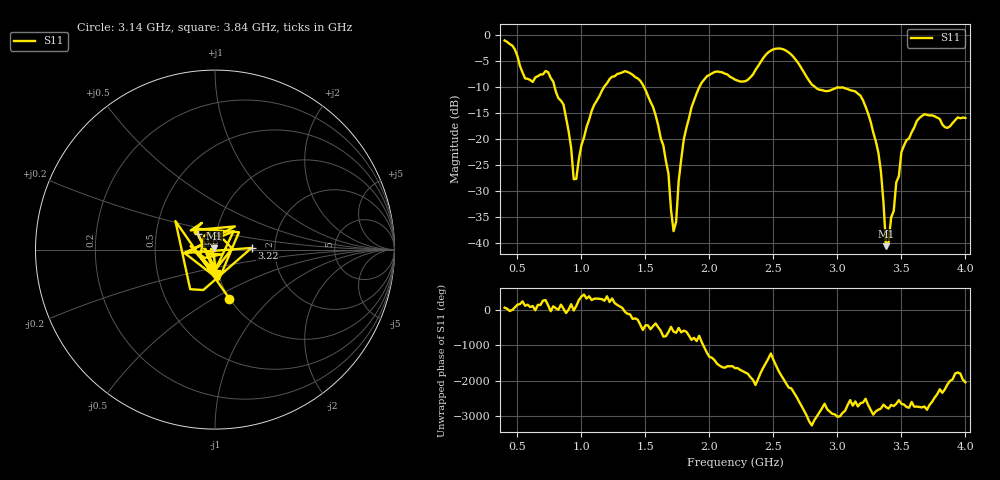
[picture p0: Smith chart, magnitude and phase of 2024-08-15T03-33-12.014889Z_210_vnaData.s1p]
!Created with skrf (http://scikit-rf.org).
# Hz S RI R 50.0
!freq ReS11 ImS11
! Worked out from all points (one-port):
!   181 points, 400 MHz to 4 GHz, reference 50 ohm
!   lowest |S11| = -40.6 dB at 3.38 GHz (marker M1), VSWR 1.02, Z = 49.5 + j0.761 ohm
!   |S11| at or under -10 dB: 790.6 MHz to 1.178 GHz (387 MHz wide, 39.3 % of centre); 1.489 GHz to 1.922 GHz (433.5 MHz wide, 25.4 % of centre); 2.824 GHz to end of sweep
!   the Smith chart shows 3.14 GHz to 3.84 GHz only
!   S11 on the Smith chart (normalised r, x): 3.14 GHz: 1.00, -0.60; 3.22 GHz: 1.51, +0.03; 3.6 GHz: 0.82, +0.14; 3.84 GHz: 0.99, -0.26
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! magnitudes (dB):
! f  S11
! 400 MHz  -1.1
! 560 MHz  -8.4
! 740 MHz  -7.2
! 860 MHz  -13.4
! 960 MHz  -27.7
! 1.08 GHz  -14.6
! 1.3 GHz  -7.4
! 1.56 GHz  -13.9
! 1.68 GHz  -26.7
! 1.72 GHz  -37.8
! 1.74 GHz  -35.9
! 1.76 GHz  -28.1
! 1.82 GHz  -17.9
! 1.94 GHz  -9.2
! 2.2 GHz  -8.6
! 2.5 GHz  -2.8
! 2.66 GHz  -4.3
! 2.84 GHz  -10.3
! 3.1 GHz  -10.6
! 3.14 GHz  -10.9
! 3.22 GHz  -13.8
! 3.32 GHz  -22.6
! 3.38 GHz  -40.6
! 3.5 GHz  -22.5
! 3.56 GHz  -19.9
! 3.6 GHz  -17.8
! 3.84 GHz  -17.8
! 4 GHz  -16.0
